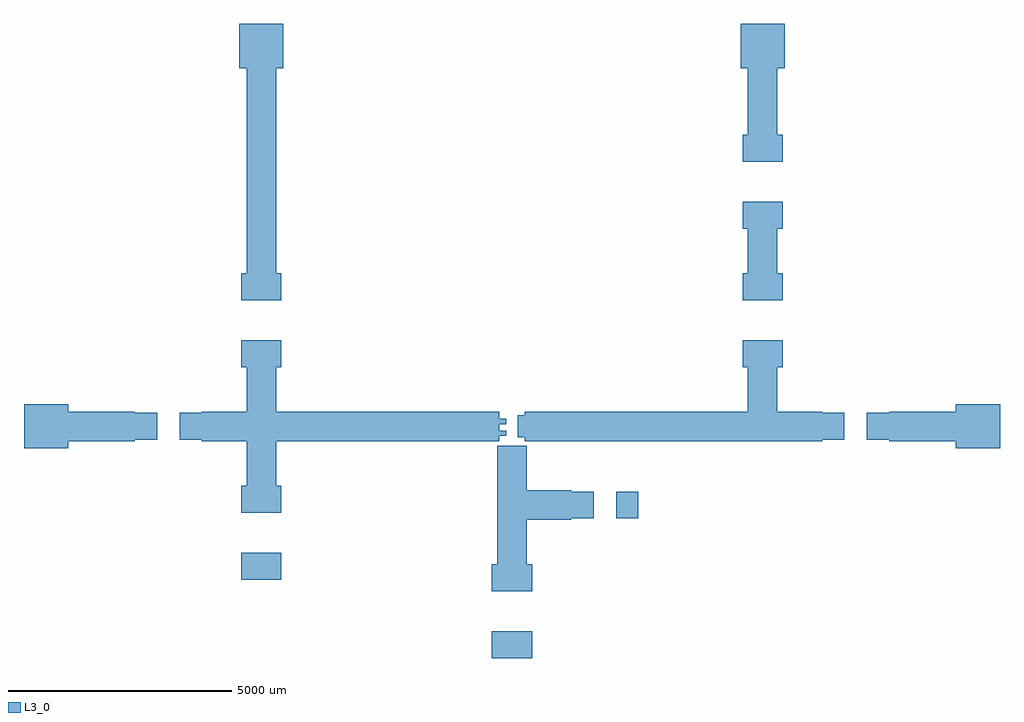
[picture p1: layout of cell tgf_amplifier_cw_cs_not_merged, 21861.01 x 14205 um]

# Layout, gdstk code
import gdstk
lib = gdstk.Library(unit=1e-6, precision=1e-09)
def R(c, l, rs):  # rectangles x0, y0, x1, y1
    for r in rs: c.add(gdstk.rectangle(r[:2], r[2:], *l))
def A(c, l, x, y, w, h, nx, ny, dx, dy):  # array of equal rectangles
    R(c, l, [(x+i*dx, y+j*dy, x+i*dx+w, y+j*dy+h) for i in range(nx) for j in range(ny)])
L3_0 = (3, 0)

tgf_amplifier_cw_cs_not_ = lib.new_cell('tgf_amplifier_cw_cs_not_merged')
A(tgf_amplifier_cw_cs_not_, L3_0, 14347.121, -3498.541, 660, 1000, 1, 3, 0, 3100)
R(tgf_amplifier_cw_cs_not_, L3_0, [(8613.508,-9018.541,9513.508,-8418.541), (8613.508,-7518.541,9513.508,-6918.541), (2998.006,-7258.541,3898.006,-6658.541), (8731.62,-6918.541,9391.62,-5918.541), (8731.62,-5918.541,9391.62,-5258.541), (9391.62,-5918.541,10391.62,-5258.541), (10391.62,-5888.541,10891.62,-5288.541), (10391.62,-5888.541,10891.62,-5288.541), (11391.621,-5888.541,11891.621,-5288.541), (11391.621,-5888.541,11891.621,-5288.541), (2998.006,-5758.541,3898.006,-5158.541), (8731.62,-5258.541,9391.62,-4258.541), (3116.118,-5158.541,3776.118,-4158.541), (-1868.883,-4323.541,-878.883,-3333.541), (19002.122,-4323.541,19992.122,-3333.541), (-878.883,-4158.541,-383.883,-3498.541), (-383.883,-4158.541,616.117,-3498.541), (2116.118,-4158.541,3116.118,-3498.541), (3116.118,-4158.541,3776.118,-3498.541), (3776.118,-4158.541,8776.118,-3498.541), (9347.121,-4158.541,14347.121,-3498.541), (14347.121,-4158.541,15007.121,-3498.541), (15007.121,-4158.541,16007.121,-3498.541), (17507.122,-4158.541,18507.122,-3498.541), (18507.122,-4158.541,19002.122,-3498.541), (616.117,-4128.541,1116.117,-3528.541), (616.117,-4128.541,1116.117,-3528.541), (1616.118,-4128.541,2116.118,-3528.541), (1616.118,-4128.541,2116.118,-3528.541), (16007.121,-4128.541,16507.121,-3528.541), (16007.121,-4128.541,16507.121,-3528.541), (17007.122,-4128.541,17507.122,-3528.541), (17007.122,-4128.541,17507.122,-3528.541), (9193.121,-4073.541,9347.121,-3583.54), (8776.118,-4037.041,8930.118,-3922.041), (8776.118,-3777.041,8930.118,-3662.041), (3116.118,-3498.541,3776.118,-2498.541), (2998.006,-2498.541,3898.006,-1898.541), (14229.009,-2498.541,15129.009,-1898.541), (2998.006,-998.541,3898.006,-398.541), (14229.009,-998.541,15129.009,-398.541), (3116.118,-398.541,3776.118,3701.459), (14229.009,601.459,15129.009,1201.459), (14229.009,2101.459,15129.009,2701.459), (3116.118,3701.459,3776.118,4196.459), (14347.121,3701.459,15007.121,4196.459), (2951.117,4196.459,3941.118,5186.459), (14182.12,4196.459,15172.121,5186.459)])

lib.write_gds('tgf_amplifier_cw_cs_not_merged.gds')
